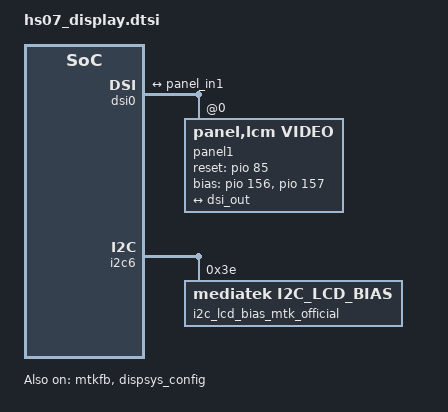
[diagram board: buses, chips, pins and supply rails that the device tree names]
&mtk_leds {
	compatible = "mediatek,disp-leds";
	/*HS07 code for HS07-4781 by huangyin at 20250627 start*/
	/*HS07 code for HS07-47 by huangyin at 20250304 start*/
	backlight {
		label = "lcd-backlight";
		led_mode = <4>;
		gate_enable = <0>;
		pwm_config = <0 1 0 0 0>;
		max-brightness = <255>;
		max-hw-brightness = <4095>;
		min-brightness = <1>;
		min-hw-brightness = <1>;
		default-state = "ten-percent";
	};
	/*HS07 code for HS07-47 by huangyin at 20250304 end*/
	/*HS07 code for HS07-4781 by huangyin at 20250627 end*/
};

&pio {
	mtkfb_pins_lcm_rst_out1_gpio: lcm_rst_out1_gpio {
		pins_cmd_dat {
			pinmux = <PINMUX_GPIO85__FUNC_GPIO85>;
			slew-rate = <1>;
			output-high;
		};
	};

	mtkfb_pins_lcm_rst_out0_gpio: lcm_rst_out0_gpio {
		pins_cmd_dat {
			pinmux = <PINMUX_GPIO85__FUNC_GPIO85>;
			slew-rate = <1>;
			output-low;
		};
	};
	mtkfb_pins_lcm_dsi_te: lcm_dsi_te {
		pins_cmd_dat {
			pinmux = <PINMUX_GPIO83__FUNC_DSI_TE>;
		};
	};
	/*HS07 code for HS07-354 by huangyin at 20250407 start*/
	ctp_rst_pin_low: ctp_rst_pin_low {
		pins_cmd_dat {
			pinmux = <PINMUX_GPIO155__FUNC_GPIO155>;
			slew-rate = <1>;
			output-low;
		};
	};
	ctp_rst_pin_high: ctp_rst_pin_high {
		pins_cmd_dat {
			pinmux = <PINMUX_GPIO155__FUNC_GPIO155>;
			slew-rate = <1>;
			output-high;
		};
	};
	/*HS07 code for HS07-354 by huangyin at 20250407 end*/
};

&mtkfb {
	pinctrl-names = "lcm_rst_out1_gpio", "lcm_rst_out0_gpio",
	"mode_te_te";
	pinctrl-0 = <&mtkfb_pins_lcm_rst_out1_gpio>;
	pinctrl-1 = <&mtkfb_pins_lcm_rst_out0_gpio>;
	pinctrl-2 = <&mtkfb_pins_lcm_dsi_te>;
	status = "okay";
};

&dispsys_config {
	pinctrl-names =
		"lcm_rst_out1_gpio", "lcm_rst_out0_gpio",
		"mode_te_te";
	pinctrl-0 = <&mtkfb_pins_lcm_rst_out1_gpio>;
	pinctrl-1 = <&mtkfb_pins_lcm_rst_out0_gpio>;
	pinctrl-2 = <&mtkfb_pins_lcm_dsi_te>;
	status = "okay";
};

&dsi0 {
	status = "okay";
	#address-cells = <1>;
	#size-cells = <0>;
	panel1@0 {
		compatible = "panel,lcm,video";
		reg = <0>;
		/*HS07 code for HS07-354 by huangyin at 20250407 start*/
		reset-gpios = <&pio 85 0>;//lcm rst
		bias-gpios = <&pio 156 0>, <&pio 157 0>;//vsp.vsn
		pinctrl-names = "ctp_rst_pin_low","ctp_rst_pin_high";
		pinctrl-0 = <&ctp_rst_pin_low>;
		pinctrl-1 = <&ctp_rst_pin_high>;
		/*HS07 code for HS07-354 by huangyin at 20250407 end*/
		port {
			panel_in1: endpoint {
				remote-endpoint = <&dsi_out>;
			};
		};
	};

	ports {
		port {
			dsi_out: endpoint {
				remote-endpoint = <&panel_in1>;
			};
		};
	};
};

&i2c6 {
	i2c_lcd_bias_mtk_official:i2c_lcd_bias@3e {
		compatible = "mediatek,i2c_lcd_bias";
		reg = <0x3e>;
		id = <6>;
		status = "okay";
	};
};
